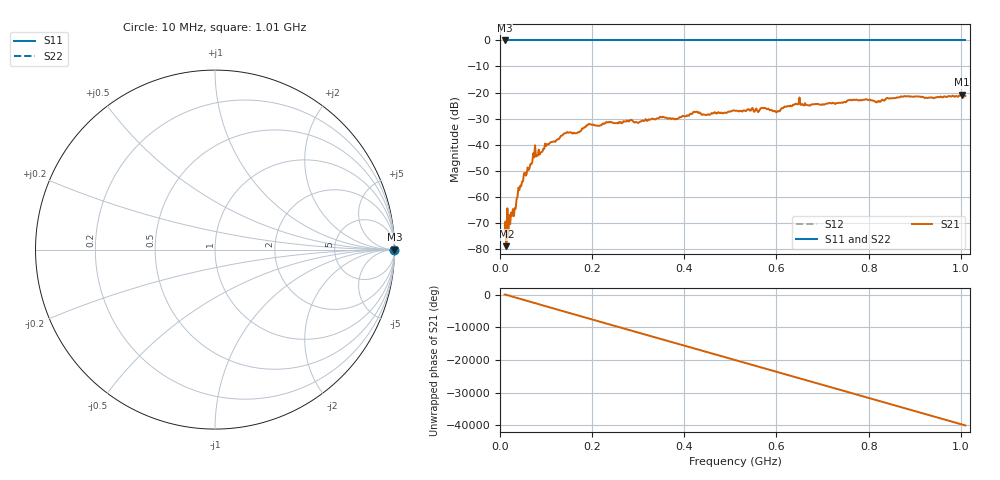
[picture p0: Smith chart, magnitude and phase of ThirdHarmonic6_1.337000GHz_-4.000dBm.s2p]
! 8/16/2025 2:58:40 PM
! C:\ANRITSUVNA\TEMP\TEMP.S2P
! CHANNEL.1
! TR.MEASUREMENT
! RAW.DATA
! RF.CORRECTION.OFF
! AVERAGING.OFF
! IF.BANDWIDTH: 5KHZ
! SWEEPTYPE:  FREQ.SWEEP(Linear)
! Reference Plane Port Info
! PORT:  PORT1  PORT2
! DISTANCE:  0  m  0  m
! TIME:  0  s  0  s
! PHASE.OFFSET:  0  deg.  0  deg.
! LOSS:  0  dB  0  dB
! REF.LOSS:  0  dB  0  dB
! REF.FREQ:  0  Hz  0  Hz
! Power Info
! POWER:  -20  dBm  -20  dBm
! EFF.POWER:  -20  dBm  -20  dBm
! SOURCE.ATTEN:  0  dB  0  dB
! TEST.ATTEN:  0  dB  0  dB
# GHZ S RI R 50.0
! FREQ.GHZ  S11RE  S11IM  S21RE  S21IM  S12RE  S12IM  S22RE  S22IM
!; PortSelection: Port_12
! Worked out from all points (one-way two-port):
!   501 points, 10 MHz to 1.01 GHz, reference 50 ohm
!   highest |S21| = -20.84 dB at 1.002 GHz (marker M1); lowest = -79.0 dB at 14 MHz (marker M2)
!   lowest |S11| = 0.0 dB at 10 MHz (marker M3)
!   |S11| at or under -10 dB: nowhere
!   |S22| runs from 0.0 to 0.0 dB; largest |S21 - S12| = 1.1
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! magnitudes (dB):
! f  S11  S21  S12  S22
! 10 MHz  0.0  -73.5  0.0  0.0
! 12 MHz  0.0  -69.5  0.0  0.0
! 14 MHz  0.0  -79.0  0.0  0.0
! 18 MHz  0.0  -75.4  0.0  0.0
! 20 MHz  0.0  -67.0  0.0  0.0
! 22 MHz  0.0  -70.6  0.0  0.0
! 24 MHz  0.0  -66.1  0.0  0.0
! 30 MHz  0.0  -67.5  0.0  0.0
! 44 MHz  0.0  -55.7  0.0  0.0
! 76 MHz  0.0  -40.3  0.0  0.0
! 142 MHz  0.0  -35.7  0.0  0.0
! 178 MHz  0.0  -33.8  0.0  0.0
! 194 MHz  0.0  -32.0  0.0  0.0
! 344 MHz  0.0  -30.0  0.0  0.0
! 510 MHz  0.0  -27.0  0.0  0.0
! 572 MHz  0.0  -26.0  0.0  0.0
! 602 MHz  0.0  -27.3  0.0  0.0
! 646 MHz  0.0  -24.5  0.0  0.0
! 678 MHz  0.0  -24.6  0.0  0.0
! 844 MHz  0.0  -22.3  0.0  0.0
! 1.002 GHz  0.0  -20.8  0.0  0.0
! 1.01 GHz  0.0  -21.3  0.0  0.0
